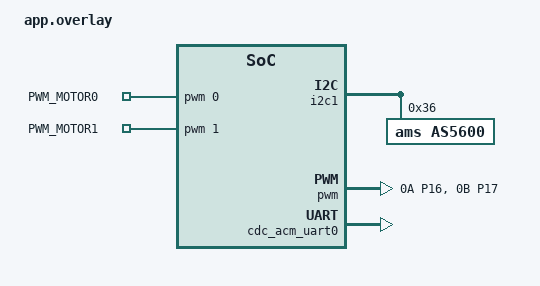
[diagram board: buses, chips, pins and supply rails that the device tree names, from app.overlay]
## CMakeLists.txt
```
cmake_minimum_required(VERSION 3.28)

find_package(Zephyr REQUIRED HINTS $ENV{ZEPHYR_BASE})
project(rpi-electic-winch)

target_sources(app PRIVATE src/main.c src/winch_shell.c src/as5600.c)
```

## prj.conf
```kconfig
CONFIG_SERIAL=y

# Redirect console to CDC
CONFIG_USB_DEVICE_INITIALIZE_AT_BOOT=y
CONFIG_USB_DEVICE_PRODUCT="Elmot electric winch console"
CONFIG_USB_DEVICE_VID=0x2E8A
CONFIG_USB_DEVICE_PID=0x0009
CONFIG_USB_SELF_POWERED=n
CONFIG_USB_DEVICE_STACK=y
CONFIG_USB_WORKQUEUE=y
CONFIG_USB_WORKQUEUE_STACK_SIZE=1024
CONFIG_USB_WORKQUEUE_PRIORITY=-1
CONFIG_USB_CDC_ACM=y
CONFIG_USB_CDC_ACM_RINGBUF_SIZE=1024
CONFIG_USB_WORKQUEUE_STACK_SIZE=4096

#Shell through USB-UART
CONFIG_UART_INTERRUPT_DRIVEN=y
CONFIG_UART_LINE_CTRL=y
CONFIG_SHELL_BACKEND_SERIAL_INIT_PRIORITY=60
CONFIG_DEVICE_SHELL=y
CONFIG_SHELL=y
CONFIG_SHELL_PROMPT_CHANGE=n
CONFIG_CONSOLE=y
CONFIG_STDOUT_CONSOLE=y
CONFIG_BOOT_BANNER=n
CONFIG_SHELL_PROMPT_UART="elmot-winch-a:~$ "
CONFIG_HWINFO_SHELL=y
CONFIG_I2C_SHELL=y
CONFIG_PWM_SHELL=y
CONFIG_KERNEL_SHELL=n
CONFIG_DEVMEM_SHELL=n
CONFIG_SHELL_CMDS_RETURN_VALUE=n
CONFIG_SHELL_CMDS_RESIZE=n
CONFIG_SHELL_VT100_COMMANDS=y
CONFIG_SHELL_WILDCARD=n
CONFIG_SHELL_STATS=n
CONFIG_SHELL_CMDS_SELECT=y

CONFIG_NO_OPTIMIZATIONS=y
CONFIG_THREAD_STACK_INFO=y
CONFIG_THREAD_NAME=y

CONFIG_MAIN_STACK_SIZE=4096
CONFIG_SYSTEM_WORKQUEUE_STACK_SIZE=4096

CONFIG_SENSOR=n
CONFIG_I2C=y
CONFIG_PWM=y
CONFIG_REBOOT=y

# Persistent settings
CONFIG_NVS=y
CONFIG_FLASH=y
CONFIG_FLASH_MAP=y
CONFIG_FLASH_PAGE_LAYOUT=y

CONFIG_SETTINGS=y
CONFIG_SETTINGS_NVS=y
CONFIG_THREAD_MONITOR=y
```

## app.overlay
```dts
/ {
	chosen {
		zephyr,console = &cdc_acm_uart0;
	};

	aliases {
		pwm-motor0 = &motor0;
		pwm-motor1 = &motor1;

		as5600-sensor = &as5600;
	};

	pwm_motors {
		compatible = "pwm-leds";
		status = "okay";

		motor0: motor0_pwm {
			pwms = <&pwm 0 PWM_HZ(1000) PWM_POLARITY_NORMAL>;
			label = "PWM_MOTOR0";
		};

		motor1: motor1_pwm {
			pwms = <&pwm 1 PWM_HZ(1000) PWM_POLARITY_NORMAL>;
			label = "PWM_MOTOR1";
		};

	};
};

&i2c1 {
	status = "okay";
	pinctrl-0 = <&i2c1_default>;
	pinctrl-names = "default";

	as5600: as5600@36 {
		compatible = "ams,as5600";
		reg = <0x36>;
		status = "okay";
	};

};

&pwm {
	status = "okay";
	pinctrl-0 = <&pwmm1_default>;
	pinctrl-names = "default";
};

&pinctrl {

	pwmm1_default: pwmm1_default {
		status = "okay";

		group1 {
			pinmux = <PWM_0A_P16>, <PWM_0B_P17>;
			bias-disable;  /* Disable pull-up/pull-down */
		};
	};

	i2c1_default: i2c1_default {
		status = "okay";
		group1 {
			pinmux = <I2C1_SDA_P26>, <I2C1_SCL_P27>;
			bias-pull-up;
		};
	};
};

&zephyr_udc0 {
	cdc_acm_uart0: cdc_acm_uart0 {
		compatible = "zephyr,cdc-acm-uart";
	};
};
```

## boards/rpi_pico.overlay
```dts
/ {
	chosen {
		zephyr,shell-uart = &cdc_acm_uart0;
		zephyr,console = &cdc_acm_uart1;
	};

	aliases {
		pwm-motor0 = &motor0;
		pwm-motor1 = &motor1;
		pwm-led = &led;
		as5600-bus = &i2c1;
	};

	pwm_motors {
		compatible = "pwm-leds";
		status = "okay";

		motor0: motor0_pwm {
			pwms = <&pwm 0 PWM_HZ(25000) PWM_POLARITY_INVERTED>;
			label = "PWM_MOTOR0";
		};

		motor1: motor1_pwm {
			pwms = <&pwm 1 PWM_HZ(25000) PWM_POLARITY_INVERTED>;
			label = "PWM_MOTOR1";
		};

		led: led_pwm {
			pwms = <&pwm 9 PWM_HZ(25000) PWM_POLARITY_NORMAL>;
			label = "LED";
		};

	};
};

&uart0 {
	status = "disabled";
};

&i2c0 {
	status = "disabled";
};

&i2c1 {
	status = "okay";
	pinctrl-0 = <&i2c1_default>;
	pinctrl-names = "default";
	label = "i2c1";
};

&pwm {
	status = "okay";
	pinctrl-0 = <&pwmm1_default>;
	pinctrl-names = "default";
	label = "pwm0";

};

&pinctrl {

	pwmm1_default: pwmm1_default {
		status = "okay";

		group1 {
			pinmux = <PWM_0A_P16>, <PWM_0B_P17>, <PWM_4B_P25>;
			bias-disable;  /* Disable pull-up/pull-down */
		};
	};

	i2c1_default: i2c1_default {
		status = "okay";
		group1 {
			pinmux = <I2C1_SDA_P26>, <I2C1_SCL_P27>;
			bias-pull-up;
		};
	};
};


&zephyr_udc0 {
	cdc_acm_uart0: cdc_acm_uart0 {
		compatible = "zephyr,cdc-acm-uart";
		label = "CDC_ACM_0";
	};
	cdc_acm_uart1: cdc_acm_uart1 {
		compatible = "zephyr,cdc-acm-uart";
		label = "CDC_ACM_1";
	};
};

&flash0 {
	reg = <0x10000000 DT_SIZE_M(2)>;

	partitions {
		compatible = "fixed-partitions";
		#address-cells = <1>;
		#size-cells = <1>;

		/*
		 * Usable flash. Starts at 0x100, after the bootloader. The partition
		 * size is 1MB minus the 0x100 bytes taken by the bootloader.
		 */
		code_partition: partition@100 {
			label = "code-partition";
			reg = <0x100 (DT_SIZE_M(1) - 0x100)>;
			read-only;
		};

		storage_partition: partition@100000 {
			label = "storage";
			reg = <0x100000 0x00007000>;
		};
	};
};
```

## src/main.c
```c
#include "main.h"

#include <stdlib.h>
#include <zephyr/sys/printk.h>

#include "zephyr/drivers/i2c.h"
#include "zephyr/settings/settings.h"

//todo improve PHASE I battery watching
//todo improve PHASE II motor current alarm

struct params_t params = {
    .max_angle_degree = 40,
    .min_pwm_percent = 10,
    .center_angle_degree = -1,
    .dead_angle_degree = 5
};

atomic_t led_status = ATOMIC_INIT(OFF);

const struct pwm_dt_spec pwm_motor0 = PWM_DT_SPEC_GET(DT_ALIAS(pwm_motor0)); // NOLINT(*-interfaces-global-init)
const struct pwm_dt_spec pwm_motor1 = PWM_DT_SPEC_GET(DT_ALIAS(pwm_motor1)); // NOLINT(*-interfaces-global-init)
const struct pwm_dt_spec pwm_led = PWM_DT_SPEC_GET(DT_ALIAS(pwm_led)); // NOLINT(*-interfaces-global-init)

K_THREAD_STACK_DEFINE(led_stack_area, TASK_STACK_SIZE);
struct k_thread led_thread_data;

void startup_device(const struct device* dev)
{
    while (!device_is_ready(dev)) {
        atomic_set(&led_status, ALARM);
        printk("Device %s is not ready\n", dev->name);
        k_sleep(K_MSEC(1000));
    }
    // Set back to OFF only if no other part set it to ALARM meanwhile
    atomic_set(&led_status, OFF);
}

atomic_t motor_suspended = ATOMIC_INIT(false);
atomic_t report_motor_pwm = ATOMIC_INIT(0);

void motor_pwm(int duty, bool forced)
{
    static int old_motor_duty = 1000000;
    if (duty > 100) duty = 100;
    if (duty < -100) duty = -100;
    if (motor_suspended && !forced) {
        return;
    }
    if (old_motor_duty == duty && !forced) return;
    old_motor_duty = duty;
    int ret;
    if (duty >= params.min_pwm_percent) {
        ret = pwm_set_dt(&pwm_motor0, PWM_USEC(40), PWM_USEC(40 * duty / 100));
        ret |= pwm_set_dt(&pwm_motor1, PWM_USEC(40), PWM_USEC(0));
    } else if (duty <= -params.min_pwm_percent) {
        ret = pwm_set_dt(&pwm_motor0, PWM_USEC(40), PWM_USEC(0));
        ret |= pwm_set_dt(&pwm_motor1, PWM_USEC(40), PWM_USEC(-40 * duty / 100));
    } else {
        ret = pwm_set_dt(&pwm_motor0, PWM_USEC(40), PWM_USEC(0));
        ret |= pwm_set_dt(&pwm_motor1, PWM_USEC(40), PWM_USEC(0));
    }
    if (ret) {
        printk("Failed to set motor PWM: %d\n", ret);
    }
}

void motor_pause(bool suspend)
{
    atomic_set(&motor_suspended, suspend);
    if (suspend) {
        motor_pwm(0, true);
        atomic_set(&led_status, SUSPEND);
    } else {
        atomic_set(&led_status, OFF);
    }
}


_Noreturn void alarm(const char* fmt, ...)
{
    motor_pwm(0, true);
    atomic_set(&led_status, ALARM);
    while (1) {
        va_list ap;
        va_start(ap, fmt);
        vprintk(fmt, ap);
        va_end(ap);
        k_sleep(K_SECONDS(1));
    }
}

int effectiveAngle()
{
    int angle = atomic_get(&sampled_angle_degree);
    angle = (360 + angle - params.center_angle_degree) % 360;
    if (angle > (360 - params.max_angle_degree)) {
        return angle - 360;
    }
    if (angle > 180 ) {
        return -params.max_angle_degree;
    }
    if (angle > params.max_angle_degree) {
        return params.max_angle_degree;
    }
    return angle;
}

_Noreturn void led_task_entry(__unused void* p1,__unused void* p2,__unused void* p3)
{
    static bool phase = false;
    for (int i = 1; i <= 10; i++) {
        pwm_set_dt(&pwm_led, PWM_USEC(40), PWM_USEC(i * 10));
        k_sleep(K_MSEC(20));
    }
    for (int i = 1; i <= 5; i++) {
        pwm_set_dt(&pwm_led, PWM_USEC(40), PWM_USEC(40));
        k_sleep(K_MSEC(150));
        pwm_set_dt(&pwm_led, PWM_USEC(40), PWM_USEC(0));
        k_sleep(K_MSEC(50));
    }
    while (true) {
        if (phase) {
            if (led_status != OFF) pwm_set_dt(&pwm_led, PWM_USEC(40), PWM_USEC(40));
        } else {
            switch (led_status) {
            case ON:
                pwm_set_dt(&pwm_led, PWM_USEC(40), PWM_USEC(40));
                break;
            case DIM:
            case SUSPEND:
                pwm_set_dt(&pwm_led, PWM_USEC(40), PWM_USEC(10));
                break;
            default:
                pwm_set_dt(&pwm_led, PWM_USEC(40), PWM_USEC(0));
            }
        }
        switch (led_status) {
        case ALARM:
            k_sleep(K_MSEC(100));
            break;
        case SUSPEND:
            k_sleep(K_SECONDS(1));
            break;
        default:
            k_sleep(K_MSEC(500));
        }
        phase = !phase;
        int angle = (int)atomic_get(&sampled_angle_degree);
        printk("Angle sampled: %d, corrected: %d. PWM: %d\n",
               angle, effectiveAngle(),
               (int)atomic_get(&report_motor_pwm));
    }
}

_Noreturn void motor_loop()
{
    int desired_pwm = 0;
    static int current_pwm = 0;
    while (true) {
        if (atomic_get(&motor_suspended)) {
            k_sleep(K_MSEC(300));
            continue;
        }
        k_sleep(K_MSEC(2));
        int angle = atomic_get(&sampled_angle_degree);
        if (angle < 0) {
            atomic_set(&led_status, SUSPEND);
            motor_pwm(0, true);
            continue;
        }
        int effective_angle = effectiveAngle();
        const int abs_angle = abs(effective_angle) - params.dead_angle_degree;
        if (abs_angle <= 0) {
            desired_pwm = 0;
            atomic_set(&led_status, OFF);
            motor_pwm(0, true);
            continue;
        }
        desired_pwm = params.min_pwm_percent +
            (100 - params.min_pwm_percent) * abs_angle / (params.max_angle_degree - params.dead_angle_degree);
        if (effective_angle < 0) desired_pwm = -desired_pwm;
        if (desired_pwm >= 0) {
            if (current_pwm < 0) current_pwm = 0;
            if (current_pwm < desired_pwm) {
                current_pwm++;
            } else { current_pwm = desired_pwm; }
        } else {
            if (current_pwm > 0) current_pwm = 0;
            if (current_pwm > desired_pwm) {
                current_pwm--;
            } else { current_pwm = desired_pwm; }
        }
        switch (current_pwm) {
        case 0: atomic_set(&led_status, OFF);
            break;
        case 100:
        case 99:
        case -99:
        case -100: atomic_set(&led_status, ON);
            break;
        default: atomic_set(&led_status, DIM);
            break;
        }
        motor_pwm(current_pwm, false);
        atomic_set(&report_motor_pwm, current_pwm);
    }
}

_Noreturn int main(void)
{
    startup_device(pwm_motor0.dev);
    startup_device(pwm_motor1.dev);
    startup_device(pwm_led.dev);
    // Create and start the LED task
    k_tid_t led_tid = k_thread_create(&led_thread_data, led_stack_area,
                                      K_THREAD_STACK_SIZEOF(led_stack_area),
                                      led_task_entry, NULL, NULL, NULL,
                                      TASK_PRIORITY, 0, K_NO_WAIT);
    if (!led_tid) {
        alarm("Failed to create LED thread!\n");
    } else {
        k_thread_name_set(led_tid, "led_task");
    }

    loadParameters();
    startSensorThread();

    motor_loop();
}
```

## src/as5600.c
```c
#include "main.h"
#include "zephyr/drivers/i2c.h"

atomic_t sampled_angle_degree;

K_THREAD_STACK_DEFINE(sensor_stack_area, TASK_STACK_SIZE);
struct k_thread sensor_thread_data;

static const struct device *i2c_bus_dev = DEVICE_DT_GET(DT_ALIAS(as5600_bus)); // NOLINT(*-interfaces-global-init)
#define AS5600_I2C_ADDRESS (0x36)

#if !DT_NODE_HAS_STATUS(DT_ALIAS(as5600_bus), okay)
#error "as5600_sensor device alias not found or not enabled"
#endif


#define AS5600_STATUS_REG (0x0B)
#define AS5600_STATUS_MAGNET_DETECTED_FLAG (0x20)
#define AS5600_ANGLE_H_REG (0x0E)
#define AS5600_CONF_H_REG (0x07)
#define AS5600_CONF_L_REG (0x08)
#define AS5600_CONF_L_LPM2 (0x02)
#define AS5600_CONF_H_WD (0x20)

static _Noreturn void sensor_task_entry(__unused void* p1,__unused void* p2,__unused void* p3)
{
    int ret = i2c_reg_write_byte(i2c_bus_dev, AS5600_I2C_ADDRESS,AS5600_CONF_H_REG, AS5600_CONF_H_WD);
    if (!ret) {
        ret = i2c_reg_write_byte(i2c_bus_dev, AS5600_I2C_ADDRESS,AS5600_CONF_L_REG, AS5600_CONF_L_LPM2);
    }
    if (ret != 0) {
        alarm("Failed to write low-power mode to AS5600: %d", ret);
    }
    while (true) {
        uint8_t status;
        int ret = i2c_reg_read_byte(i2c_bus_dev, AS5600_I2C_ADDRESS,AS5600_STATUS_REG, &status);
        if (ret != 0) {
            alarm("Failed to fetch status from AS5600: %d", ret);
        }
        if (!(status & AS5600_STATUS_MAGNET_DETECTED_FLAG)) {
            atomic_set(&sampled_angle_degree, -1);
            atomic_set(&led_status, ALARM);
            printk("Magnet not detected, skipping sample\n");
            k_sleep(K_MSEC(500));
        } else {
            uint8_t read_data[2] = {0, 0};
            static const uint8_t angle_reg = AS5600_ANGLE_H_REG;

            ret = i2c_write_read(i2c_bus_dev, AS5600_I2C_ADDRESS, &angle_reg, 1, &read_data, sizeof(read_data));
            if (ret != 0) {
                printk("Failed to fetch sample from AS5600: %d\n", ret);
                atomic_set(&sampled_angle_degree, -1);
            } else {
                uint16_t angle_val = (read_data[0] << 8 | read_data[1]) * 360 /4096;
                atomic_set(&sampled_angle_degree, angle_val);
            }
        }
        k_sleep(K_MSEC(50));
    }
}

void startSensorThread()
{
    startup_device(i2c_bus_dev);

    k_tid_t sensor_tid = k_thread_create(&sensor_thread_data, sensor_stack_area,
                                         K_THREAD_STACK_SIZEOF(sensor_stack_area),
                                         sensor_task_entry, NULL, NULL, NULL,
                                         TASK_PRIORITY, 0, K_NO_WAIT);
    if (!sensor_tid) {
        alarm("Failed to create sensor thread!\n");
    } else {
        k_thread_name_set(sensor_tid, "sensor_task");
    }
}
```

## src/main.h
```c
#ifndef MAIN_H
#define MAIN_H

#include <zephyr/drivers/pwm.h>
#include <zephyr/kernel.h>
#include <zephyr/device.h>
#include <zephyr/devicetree.h>

#if !DT_NODE_HAS_STATUS(DT_ALIAS(pwm_motor0), okay)
#error "pwm_motor0 device is not enabled"
#endif

#if !DT_NODE_HAS_STATUS(DT_ALIAS(pwm_motor1), okay)
#error "pwm_motor1 device is not enabled"
#endif

// <<< Add check for pwm_led alias >>>
#if !DT_NODE_HAS_STATUS(DT_ALIAS(pwm_led), okay)
#error "pwm_led device alias not found or not enabled"
#endif

#define TASK_STACK_SIZE 1512
#define TASK_PRIORITY 5

enum led_status_type
{
    OFF, ON, DIM, ALARM, SUSPEND
};

void motor_pause(bool suspend);

extern const struct pwm_dt_spec pwm_motor0;
extern const struct pwm_dt_spec pwm_motor1;
extern const struct pwm_dt_spec pwm_led;

extern atomic_t led_status;

/** Set motor PWM
 *
 * @param duty PWM duty, [-100..100]
 * @param forced ignore motor suspend flag for sake of setup
 */
void motor_pwm(int duty, bool forced);

__packed struct params_t
{
    uint16_t min_pwm_percent;
    uint16_t dead_angle_degree;
    int16_t center_angle_degree;
    uint16_t max_angle_degree;
};

extern struct params_t params;
extern atomic_t sampled_angle_degree;

void loadParameters();
void startSensorThread();
void startup_device(const struct device* dev);

_Noreturn void alarm(const char* fmt, ...);

#define STORAGE_PARTITION	storage_partition
#define STORAGE_PARTITION_ID	FIXED_PARTITION_ID(STORAGE_PARTITION)

#endif /* MAIN_H */
```

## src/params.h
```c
#define JOYSTICK_DEAD_ANGLE_DEGREE (5)
#define JOYSTICK_MAX_ANGLE_DEGREE (60)
#define MIN_PWM_PERCENT (20)
```

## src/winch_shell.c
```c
#include <stdlib.h>
#include <hardware/resets.h>
#include <zephyr/shell/shell.h>
#include <zephyr/sys/reboot.h>

#include "main.h"
#include "zephyr/fs/nvs.h"
#include "zephyr/settings/settings.h"
#ifdef CONFIG_SOC_SERIES_RP2XXX
#include <pico/bootrom.h>
#endif

#define PARAMETERS_SIZE sizeof(struct params_t)

int params_handle_get(const char* key, char* val, int val_len_max)
{
    if (key != NULL && *key != 0) {
        return -EINVAL;
    }
    if (val_len_max < PARAMETERS_SIZE) {
        return -ENOMEM;
    }
    memcpy(val, &params, PARAMETERS_SIZE);
    return PARAMETERS_SIZE;
}

/**< Set value handler of settings items identified by keyword names.
 *
 * Parameters:
 *  - key[in] the name with skipped part that was used as name in
 *    handler registration
 *  - len[in] the size of the data found in the backend.
 *  - read_cb[in] function provided to read the data from the backend.
 *  - cb_arg[in] arguments for the read function provided by the
 *    backend.
 *
 * Return: 0 on success, non-zero on failure.
 */
int params_handle_set(const char* key, size_t len, settings_read_cb read_cb,
                      void* cb_arg)
{
    if (key != NULL && *key != 0) {
        return -EINVAL;
    }
    if (len < PARAMETERS_SIZE) {
        return -ENOMEM;
    }
    const int res = read_cb(cb_arg, &params, PARAMETERS_SIZE);
    if (res == PARAMETERS_SIZE) return 0;
    return res;
}

SETTINGS_STATIC_HANDLER_DEFINE(winch, "parameters", params_handle_get, params_handle_set, NULL, NULL);

void loadParameters()
{
    int res = settings_subsys_init();
    if (res) {
        alarm("Failed to initialize settings subsystem: %d", res);
    }
    settings_load();
}

static int cmd_reboot(const struct shell* sh, size_t argc, char** argv)
{
    shell_print(sh, "Rebooting...");
    k_sleep(K_SECONDS(1));
    sys_reboot(SYS_REBOOT_COLD);
}

static int parse_int(const struct shell* sh, size_t argc, char** argv, int max_value, const char* usage)
{
    if (argc != 2) {
        shell_print(sh, "%s", usage);
        return -1;
    }
    char* end_ptr;
    int val = strtol(argv[1], &end_ptr, 10);
    if (*end_ptr != '\0' || val > max_value) {
        shell_print(sh, "%s", usage);
        return -1;
    }
    return val;
}

static int cmd_joystick(const struct shell* sh, size_t argc, char** argv)
{
    int repeat;
    if (argc == 1) {
        repeat = 1;
    } else {
        repeat = parse_int(sh, argc, argv, 1000, "Usage: joystick [repeat]\n");
        if (repeat < 0) return 1;
    }
    shell_print(sh, "Reading joystick:\n");
    for (int i = 0; i < repeat; i++) {
        shell_print(sh, "%d: %d degrees", i + 1, (int)sampled_angle_degree);
        if (i < repeat - 1) {
            k_sleep(K_SECONDS(1));
        }
    }
    return 0;
}

static int cmd_params(const struct shell* sh,__unused size_t argc,__unused char** argv)
{
    shell_print(sh, "Angle center %d; dead %d; max %d",
                params.center_angle_degree,
                params.dead_angle_degree,
                params.max_angle_degree);
    shell_print(sh, "PWM min: %d%%", params.min_pwm_percent);
    return 0;
}

static int cmd_pause(const struct shell* sh, __unused size_t argc, __unused char** argv)
{
    shell_print(sh, "Motor control paused");
    motor_pause(true);
    cmd_params(sh, 0,NULL);
    return 0;
}

static int cmd_resume(const struct shell* sh,__unused size_t argc,__unused char** argv)
{
    shell_print(sh, "Motor control resumed");
    motor_pause(false);
    cmd_params(sh, 0,NULL);
    return 0;
}

static int save_params(const struct shell* sh)
{
    int result = settings_save_one("parameters", &params, PARAMETERS_SIZE);
    if (result)
        shell_print(sh, "Failed to save settings: %d", result);
    result = settings_commit();
    if (result) printk("Failed to commit: %d", result);
    return result;
}

static int cmd_set_min_pwm(const struct shell* sh, size_t argc, char** argv)
{
    int val = parse_int(sh, argc, argv, 99, "Usage: set_min_pwm [percent]\n");
    if (val < 0) return 1;
    val = val % 100;
    params.min_pwm_percent = val;
    cmd_pause(sh, 0,NULL);
    k_sleep(K_MSEC(200));
    shell_print(sh, "Testing motor forward...");
    motor_pwm(params.min_pwm_percent, true);
    k_sleep(K_MSEC(1500));
    motor_pwm(0, true);
    k_sleep(K_MSEC(500));
    shell_print(sh, "Testing motor reverse...");
    motor_pwm(-params.min_pwm_percent, true);
    k_sleep(K_MSEC(1500));
    motor_pwm(0, true);

    cmd_params(sh, 0,NULL);
    return save_params(sh);
}

static int cmd_set_dead_angle(const struct shell* sh, size_t argc, char** argv)
{
    int val = parse_int(sh, argc, argv, 179, "Usage: set_dead_angle [degree]\n");
    if (val < 0) return 1;
    params.dead_angle_degree = val % 180;
    cmd_params(sh, 0,NULL);
    return save_params(sh);
}

static int cmd_set_max_angle(const struct shell* sh, size_t argc, char** argv)
{
    int val = parse_int(sh, argc, argv, 179, "Usage: set_dead_angle [degree]\n");
    if (val < 0) return 1;
    params.max_angle_degree = val % 180;
    cmd_params(sh, 0,NULL);
    return save_params(sh);
}

static int cmd_center_joystick(const struct shell* sh, size_t argc, char** argv)
{
    int val;
    if (argc == 1) {
        val = sampled_angle_degree;
        shell_print(sh, "Reading joystick position: %d", val);
    } else {
        val = parse_int(sh, argc, argv, 359, "Usage: center_joystick [angle]\n");
        if (val < 0) return 1;
    }

    params.center_angle_degree = val % 360;
    cmd_params(sh, 0,NULL);
    return save_params(sh);
}


SHELL_CMD_REGISTER(reboot, NULL, "Reboot MCU", cmd_reboot); // NOLINT(*-branch-clone)

#ifdef CONFIG_SOC_SERIES_RP2XXX
static int cmd_bootloader(const struct shell* sh, size_t argc, char** argv)
{
#ifdef CONFIG_BOARD_RPI_PICO
#define BOOTLOADER_LED_MASK (1 << 25)
#else
#define BOOTLOADER_LED_MASK (0)
#endif
    shell_print(sh, "Starting bootloader...");
    k_sleep(K_SECONDS(1));
    reset_usb_boot(BOOTLOADER_LED_MASK, 0);
}

SHELL_CMD_REGISTER(bootloader, NULL, "Reboot MCU to bootloader", cmd_bootloader); // NOLINT(*-branch-clone)
#endif

SHELL_CMD_REGISTER(pause, NULL, "Suspend normal operation to setup parameters", cmd_pause); // NOLINT(*-branch-clone)
SHELL_CMD_REGISTER(resume, NULL, "Resume normal operation", cmd_resume); // NOLINT(*-branch-clone)
SHELL_CMD_REGISTER(params, NULL, "Print current params", cmd_params); // NOLINT(*-branch-clone)
SHELL_CMD_ARG_REGISTER(joystick, NULL, "Read joystick angle", cmd_joystick, 0, 1); // NOLINT(*-branch-clone)

SHELL_STATIC_SUBCMD_SET_CREATE(sub_winch_position, // NOLINT(*-branch-clone)
                               SHELL_CMD(center, NULL, "Set joystick central position [0..359]", cmd_center_joystick),
                               SHELL_CMD(pwm_min, NULL, "Set minimal pwm [0..99]", cmd_set_min_pwm),
                               SHELL_CMD(dead_angle, NULL, "Set joystick dead angle", cmd_set_dead_angle),
                               SHELL_CMD(max_angle, NULL, "Set joystick max angle", cmd_set_max_angle),
                               SHELL_SUBCMD_SET_END
);
SHELL_CMD_REGISTER(set, &sub_winch_position, "Set parameters", NULL); // NOLINT(*-branch-clone)
```
